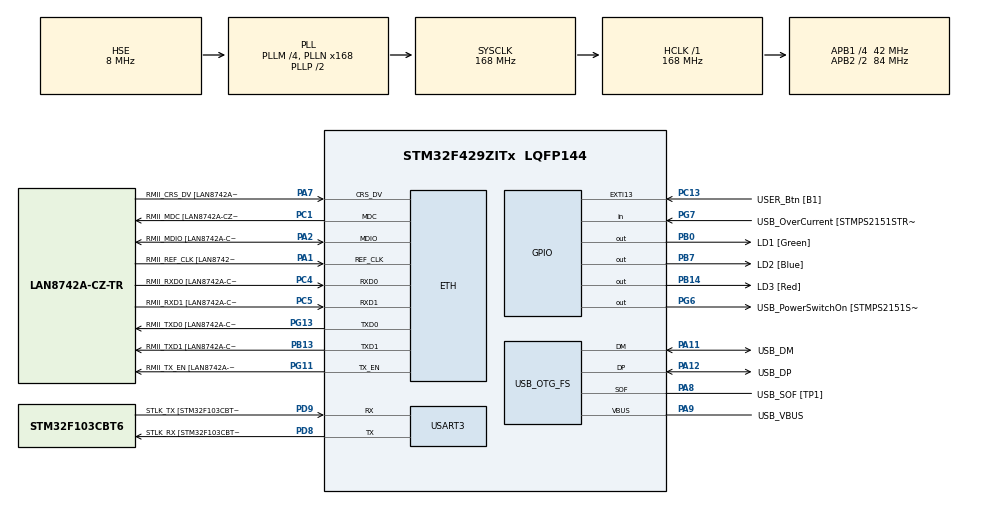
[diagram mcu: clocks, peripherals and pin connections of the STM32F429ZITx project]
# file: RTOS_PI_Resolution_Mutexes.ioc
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ETH.MediaInterface=HAL_ETH_RMII_MODE
ETH.PHY_Name=LAN8742A_PHY_ADDRESS
ETH.PHY_Value=0
ETH.PhyAddress=0
FREERTOS.BinarySemaphores01=myBinarySem01,Dynamic,NULL
FREERTOS.Mutexes01=myMutex01,Dynamic,NULL
FREERTOS.Tasks01=TaskA,8,128,StartTaskA,Default,NULL,Dynamic,NULL,NULL;TaskB,40,128,StartTaskB,Default,NULL,Dynamic,NULL,NULL;TaskC,8,128,StartTaskC,Default,NULL,Dynamic,NULL,NULL
FREERTOS.configGENERATE_RUN_TIME_STATS=1
FREERTOS.configRECORD_STACK_HIGH_ADDRESS=1
FREERTOS.configUSE_NEWLIB_REENTRANT=1
FREERTOS.configUSE_STATS_FORMATTING_FUNCTIONS=1
Mcu.Family=STM32F4
Mcu.Name=STM32F429ZITx
Mcu.Package=LQFP144
NVIC.EXTI15_10_IRQn=true\:5\:0\:false\:false\:true\:true\:true\:true\:true
NVIC.PriorityGroup=NVIC_PRIORITYGROUP_4
NVIC.TIM2_IRQn=true\:15\:0\:false\:false\:true\:false\:false\:true\:true
NVIC.TimeBase=TIM2_IRQn
NVIC.TimeBaseIP=TIM2
PA1.GPIO_Label=RMII_REF_CLK [LAN8742A-CZ-TR_REFCLK0]
PA1.Mode=RMII
PA1.Signal=ETH_REF_CLK
PA10.GPIO_Label=USB_ID
PA10.Signal=USB_OTG_FS_ID
PA11.GPIO_Label=USB_DM
PA11.Mode=Device_Only
PA11.Signal=USB_OTG_FS_DM
PA12.GPIO_Label=USB_DP
PA12.Mode=Device_Only
PA12.Signal=USB_OTG_FS_DP
PA13.GPIO_Label=TMS
PA13.Mode=Serial_Wire
PA13.Signal=SYS_JTMS-SWDIO
PA14.GPIO_Label=TCK
PA14.Mode=Serial_Wire
PA14.Signal=SYS_JTCK-SWCLK
PA2.GPIO_Label=RMII_MDIO [LAN8742A-CZ-TR_MDIO]
PA2.Mode=RMII
PA2.Signal=ETH_MDIO
PA7.GPIO_Label=RMII_CRS_DV [LAN8742A-CZ-TR_CRS_DV]
PA7.Mode=RMII
PA7.Signal=ETH_CRS_DV
PA8.GPIO_Label=USB_SOF [TP1]
PA8.Mode=Activate_SOF_FS
PA8.Signal=USB_OTG_FS_SOF
PA9.GPIO_Label=USB_VBUS
PA9.Mode=Activate_VBUS
PA9.Signal=USB_OTG_FS_VBUS
PB0.GPIO_Label=LD1 [Green]
PB0.Signal=GPIO_Output
PB13.GPIO_Label=RMII_TXD1 [LAN8742A-CZ-TR_TXD1]
PB13.Mode=RMII
PB13.Signal=ETH_TXD1
PB14.GPIO_Label=LD3 [Red]
PB14.Signal=GPIO_Output
PB7.GPIO_Label=LD2 [Blue]
PB7.Signal=GPIO_Output
PC1.GPIO_Label=RMII_MDC [LAN8742A-CZ-TR_MDC]
PC1.Mode=RMII
PC1.Signal=ETH_MDC
PC13.GPIO_Label=USER_Btn [B1]
PC13.Signal=GPXTI13
PC14/OSC32_IN.Mode=LSE-External-Oscillator
PC14/OSC32_IN.Signal=RCC_OSC32_IN
PC15/OSC32_OUT.Mode=LSE-External-Oscillator
PC15/OSC32_OUT.Signal=RCC_OSC32_OUT
PC4.GPIO_Label=RMII_RXD0 [LAN8742A-CZ-TR_RXD0]
PC4.Mode=RMII
PC4.Signal=ETH_RXD0
PC5.GPIO_Label=RMII_RXD1 [LAN8742A-CZ-TR_RXD1]
PC5.Mode=RMII
PC5.Signal=ETH_RXD1
PD8.GPIO_Label=STLK_RX [STM32F103CBT6_PA3]
PD8.Mode=Asynchronous
PD8.Signal=USART3_TX
PD9.GPIO_Label=STLK_TX [STM32F103CBT6_PA2]
PD9.Mode=Asynchronous
PD9.Signal=USART3_RX
PG11.GPIO_Label=RMII_TX_EN [LAN8742A-CZ-TR_TXEN]
PG11.Mode=RMII
PG11.Signal=ETH_TX_EN
PG13.GPIO_Label=RMII_TXD0 [LAN8742A-CZ-TR_TXD0]
PG13.Mode=RMII
PG13.Signal=ETH_TXD0
PG6.GPIO_Label=USB_PowerSwitchOn [STMPS2151STR_EN]
PG6.Signal=GPIO_Output
PG7.GPIO_Label=USB_OverCurrent [STMPS2151STR_FAULT]
PG7.Signal=GPIO_Input
PH0/OSC_IN.GPIO_Label=MCO [STM32F103CBT6_PA8]
PH0/OSC_IN.Mode=HSE-External-Clock-Source
PH0/OSC_IN.Signal=RCC_OSC_IN
PH1/OSC_OUT.Mode=HSE-External-Clock-Source
PH1/OSC_OUT.Signal=RCC_OSC_OUT
ProjectManager.HeapSize=0x200
ProjectManager.StackSize=0x400
ProjectManager.TargetToolchain=STM32CubeIDE
RCC.48MHZClocksFreq_Value=48000000
RCC.AHBFreq_Value=168000000
RCC.APB1CLKDivider=RCC_HCLK_DIV4
RCC.APB1Freq_Value=42000000
RCC.APB1TimFreq_Value=84000000
RCC.APB2CLKDivider=RCC_HCLK_DIV2
RCC.APB2Freq_Value=84000000
RCC.APB2TimCLKDivider=2
RCC.APB2TimFreq_Value=168000000
RCC.CortexFreq_Value=168000000
RCC.HCLKFreq_Value=168000000
RCC.HSE_VALUE=8000000
RCC.HSI_VALUE=16000000
RCC.PLLM=4
RCC.PLLMUL=RCC_PLL_MUL9
RCC.PLLN=168
RCC.PLLQ=7
RCC.PRESCALERUSB=RCC_USBCLKSOURCE_PLL_DIV1_5
RCC.SYSCLKFreq_VALUE=168000000
RCC.SYSCLKSource=RCC_SYSCLKSOURCE_PLLCLK
RCC.SYSCLKSourceVirtual=RCC_SYSCLKSOURCE_PLLCLK
RCC.USBFreq_Value=48000000
RCC.VCOOutputFreq_Value=336000000
USART3.VirtualMode=VM_ASYNC
USB_OTG_FS.VirtualMode=Device_Only
VP_FREERTOS_VS_CMSIS_V2.Mode=CMSIS_V2
VP_RNG_VS_RNG.Mode=RNG_Activate
VP_SYS_VS_tim2.Mode=TIM2
board=NUCLEO-F429ZI

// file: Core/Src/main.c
/* USER CODE BEGIN Header */
/**
  ******************************************************************************
  * @file           : main.c
  * @brief          : Main program body
  ******************************************************************************
  * @attention
  *
  * Copyright (c) 2025 STMicroelectronics.
  * All rights reserved.
  *
  * This software is licensed under terms that can be found in the LICENSE file
  * in the root directory of this software component.
  * If no LICENSE file comes with this software, it is provided AS-IS.
  *
  ******************************************************************************
  */
/* USER CODE END Header */
#include "main.h"
#include "string.h"
#include "cmsis_os.h"

/* USER CODE BEGIN Includes */
#include <SEGGER_SYSVIEW.h>
/* USER CODE END Includes */

ETH_TxPacketConfig TxConfig;
ETH_DMADescTypeDef  DMARxDscrTab[ETH_RX_DESC_CNT]; /* Ethernet Rx DMA Descriptors */
ETH_DMADescTypeDef  DMATxDscrTab[ETH_TX_DESC_CNT]; /* Ethernet Tx DMA Descriptors */

ETH_HandleTypeDef heth;

RNG_HandleTypeDef hrng;

UART_HandleTypeDef huart3;

PCD_HandleTypeDef hpcd_USB_OTG_FS;

/* Definitions for TaskA */
osThreadId_t TaskAHandle;
const osThreadAttr_t TaskA_attributes = {
  .name = "TaskA",
  .stack_size = 128 * 4,
  .priority = (osPriority_t) osPriorityLow,
};
/* Definitions for TaskB */
osThreadId_t TaskBHandle;
const osThreadAttr_t TaskB_attributes = {
  .name = "TaskB",
  .stack_size = 128 * 4,
  .priority = (osPriority_t) osPriorityHigh,
};
/* Definitions for TaskC */
osThreadId_t TaskCHandle;
const osThreadAttr_t TaskC_attributes = {
  .name = "TaskC",
  .stack_size = 128 * 4,
  .priority = (osPriority_t) osPriorityLow,
};
/* Definitions for myMutex01 */
osMutexId_t myMutex01Handle;
const osMutexAttr_t myMutex01_attributes = {
  .name = "myMutex01"
};
/* Definitions for myBinarySem01 */
osSemaphoreId_t myBinarySem01Handle;
const osSemaphoreAttr_t myBinarySem01_attributes = {
  .name = "myBinarySem01"
};

void SystemClock_Config(void);
static void MX_GPIO_Init(void);
static void MX_ETH_Init(void);
static void MX_USART3_UART_Init(void);
static void MX_USB_OTG_FS_PCD_Init(void);
static void MX_RNG_Init(void);
void StartTaskA(void *argument);
void StartTaskB(void *argument);
void StartTaskC(void *argument);

int main(void)
{

  /* MCU Configuration--------------------------------------------------------*/

  /* Reset of all peripherals, Initializes the Flash interface and the Systick. */
  HAL_Init();

  /* Configure the system clock */
  SystemClock_Config();

  /* Initialize all configured peripherals */
  MX_GPIO_Init();
  MX_ETH_Init();
  MX_USART3_UART_Init();
  MX_USB_OTG_FS_PCD_Init();
  MX_RNG_Init();

  /* Init scheduler */
  osKernelInitialize();
  /* Create the mutex(es) */
  /* creation of myMutex01 */
  myMutex01Handle = osMutexNew(&myMutex01_attributes);

  /* Create the semaphores(s) */
  /* creation of myBinarySem01 */
  myBinarySem01Handle = osSemaphoreNew(1, 1, &myBinarySem01_attributes);

  /* Create the thread(s) */
  /* creation of TaskA */
  TaskAHandle = osThreadNew(StartTaskA, NULL, &TaskA_attributes);

  /* creation of TaskB */
  TaskBHandle = osThreadNew(StartTaskB, NULL, &TaskB_attributes);

  /* creation of TaskC */
  TaskCHandle = osThreadNew(StartTaskC, NULL, &TaskC_attributes);

  /* USER CODE BEGIN RTOS_EVENTS */
  /* add events, ... */
  SEGGER_SYSVIEW_Conf();
  /* USER CODE END RTOS_EVENTS */

  /* Start scheduler */
  osKernelStart();

  /* We should never get here as control is now taken by the scheduler */
  /* Infinite loop */
  while (1)
  {

  }
}

void SystemClock_Config(void)
{
  RCC_OscInitTypeDef RCC_OscInitStruct = {0};
  RCC_ClkInitTypeDef RCC_ClkInitStruct = {0};

  /** Configure the main internal regulator output voltage
  */
  __HAL_RCC_PWR_CLK_ENABLE();
  __HAL_PWR_VOLTAGESCALING_CONFIG(PWR_REGULATOR_VOLTAGE_SCALE1);

  /** Initializes the RCC Oscillators according to the specified parameters
  * in the RCC_OscInitTypeDef structure.
  */
  RCC_OscInitStruct.OscillatorType = RCC_OSCILLATORTYPE_HSE;
  RCC_OscInitStruct.HSEState = RCC_HSE_BYPASS;
  RCC_OscInitStruct.PLL.PLLState = RCC_PLL_ON;
  RCC_OscInitStruct.PLL.PLLSource = RCC_PLLSOURCE_HSE;
  RCC_OscInitStruct.PLL.PLLM = 4;
  RCC_OscInitStruct.PLL.PLLN = 168;
  RCC_OscInitStruct.PLL.PLLP = RCC_PLLP_DIV2;
  RCC_OscInitStruct.PLL.PLLQ = 7;
  if (HAL_RCC_OscConfig(&RCC_OscInitStruct) != HAL_OK)
  {
    Error_Handler();
  }

  /** Initializes the CPU, AHB and APB buses clocks
  */
  RCC_ClkInitStruct.ClockType = RCC_CLOCKTYPE_HCLK|RCC_CLOCKTYPE_SYSCLK
                              |RCC_CLOCKTYPE_PCLK1|RCC_CLOCKTYPE_PCLK2;
  RCC_ClkInitStruct.SYSCLKSource = RCC_SYSCLKSOURCE_PLLCLK;
  RCC_ClkInitStruct.AHBCLKDivider = RCC_SYSCLK_DIV1;
  RCC_ClkInitStruct.APB1CLKDivider = RCC_HCLK_DIV4;
  RCC_ClkInitStruct.APB2CLKDivider = RCC_HCLK_DIV2;

  if (HAL_RCC_ClockConfig(&RCC_ClkInitStruct, FLASH_LATENCY_5) != HAL_OK)
  {
    Error_Handler();
  }
}

static void MX_ETH_Init(void)
{

   static uint8_t MACAddr[6];

  heth.Instance = ETH;
  MACAddr[0] = 0x00;
  MACAddr[1] = 0x80;
  MACAddr[2] = 0xE1;
  MACAddr[3] = 0x00;
  MACAddr[4] = 0x00;
  MACAddr[5] = 0x00;
  heth.Init.MACAddr = &MACAddr[0];
  heth.Init.MediaInterface = HAL_ETH_RMII_MODE;
  heth.Init.TxDesc = DMATxDscrTab;
  heth.Init.RxDesc = DMARxDscrTab;
  heth.Init.RxBuffLen = 1524;

  if (HAL_ETH_Init(&heth) != HAL_OK)
  {
    Error_Handler();
  }

  memset(&TxConfig, 0 , sizeof(ETH_TxPacketConfig));
  TxConfig.Attributes = ETH_TX_PACKETS_FEATURES_CSUM | ETH_TX_PACKETS_FEATURES_CRCPAD;
  TxConfig.ChecksumCtrl = ETH_CHECKSUM_IPHDR_PAYLOAD_INSERT_PHDR_CALC;
  TxConfig.CRCPadCtrl = ETH_CRC_PAD_INSERT;

}

static void MX_RNG_Init(void)
{

  hrng.Instance = RNG;
  if (HAL_RNG_Init(&hrng) != HAL_OK)
  {
    Error_Handler();
  }

}

static void MX_USART3_UART_Init(void)
{

  huart3.Instance = USART3;
  huart3.Init.BaudRate = 115200;
  huart3.Init.WordLength = UART_WORDLENGTH_8B;
  huart3.Init.StopBits = UART_STOPBITS_1;
  huart3.Init.Parity = UART_PARITY_NONE;
  huart3.Init.Mode = UART_MODE_TX_RX;
  huart3.Init.HwFlowCtl = UART_HWCONTROL_NONE;
  huart3.Init.OverSampling = UART_OVERSAMPLING_16;
  if (HAL_UART_Init(&huart3) != HAL_OK)
  {
    Error_Handler();
  }

}

static void MX_USB_OTG_FS_PCD_Init(void)
{

  hpcd_USB_OTG_FS.Instance = USB_OTG_FS;
  hpcd_USB_OTG_FS.Init.dev_endpoints = 4;
  hpcd_USB_OTG_FS.Init.speed = PCD_SPEED_FULL;
  hpcd_USB_OTG_FS.Init.dma_enable = DISABLE;
  hpcd_USB_OTG_FS.Init.phy_itface = PCD_PHY_EMBEDDED;
  hpcd_USB_OTG_FS.Init.Sof_enable = ENABLE;
  hpcd_USB_OTG_FS.Init.low_power_enable = DISABLE;
  hpcd_USB_OTG_FS.Init.lpm_enable = DISABLE;
  hpcd_USB_OTG_FS.Init.vbus_sensing_enable = ENABLE;
  hpcd_USB_OTG_FS.Init.use_dedicated_ep1 = DISABLE;
  if (HAL_PCD_Init(&hpcd_USB_OTG_FS) != HAL_OK)
  {
    Error_Handler();
  }

}

static void MX_GPIO_Init(void)
{
  GPIO_InitTypeDef GPIO_InitStruct = {0};

  /* GPIO Ports Clock Enable */
  __HAL_RCC_GPIOC_CLK_ENABLE();
  __HAL_RCC_GPIOH_CLK_ENABLE();
  __HAL_RCC_GPIOA_CLK_ENABLE();
  __HAL_RCC_GPIOB_CLK_ENABLE();
  __HAL_RCC_GPIOD_CLK_ENABLE();
  __HAL_RCC_GPIOG_CLK_ENABLE();

  /*Configure GPIO pin Output Level */
  HAL_GPIO_WritePin(GPIOB, LD1_Pin|LD3_Pin|LD2_Pin, GPIO_PIN_RESET);

  /*Configure GPIO pin Output Level */
  HAL_GPIO_WritePin(USB_PowerSwitchOn_GPIO_Port, USB_PowerSwitchOn_Pin, GPIO_PIN_RESET);

  /*Configure GPIO pin : USER_Btn_Pin */
  GPIO_InitStruct.Pin = USER_Btn_Pin;
  GPIO_InitStruct.Mode = GPIO_MODE_IT_RISING;
  GPIO_InitStruct.Pull = GPIO_NOPULL;
  HAL_GPIO_Init(USER_Btn_GPIO_Port, &GPIO_InitStruct);

  /*Configure GPIO pins : LD1_Pin LD3_Pin LD2_Pin */
  GPIO_InitStruct.Pin = LD1_Pin|LD3_Pin|LD2_Pin;
  GPIO_InitStruct.Mode = GPIO_MODE_OUTPUT_PP;
  GPIO_InitStruct.Pull = GPIO_NOPULL;
  GPIO_InitStruct.Speed = GPIO_SPEED_FREQ_LOW;
  HAL_GPIO_Init(GPIOB, &GPIO_InitStruct);

  /*Configure GPIO pin : USB_PowerSwitchOn_Pin */
  GPIO_InitStruct.Pin = USB_PowerSwitchOn_Pin;
  GPIO_InitStruct.Mode = GPIO_MODE_OUTPUT_PP;
  GPIO_InitStruct.Pull = GPIO_NOPULL;
  GPIO_InitStruct.Speed = GPIO_SPEED_FREQ_LOW;
  HAL_GPIO_Init(USB_PowerSwitchOn_GPIO_Port, &GPIO_InitStruct);

  /*Configure GPIO pin : USB_OverCurrent_Pin */
  GPIO_InitStruct.Pin = USB_OverCurrent_Pin;
  GPIO_InitStruct.Mode = GPIO_MODE_INPUT;
  GPIO_InitStruct.Pull = GPIO_NOPULL;
  HAL_GPIO_Init(USB_OverCurrent_GPIO_Port, &GPIO_InitStruct);

  /* EXTI interrupt init*/
  HAL_NVIC_SetPriority(EXTI15_10_IRQn, 5, 0);
  HAL_NVIC_EnableIRQ(EXTI15_10_IRQn);

}

/* USER CODE BEGIN 4 */
void HAL_GPIO_EXTI_Callback(uint16_t GPIO_Pin)
{
  if (GPIO_Pin == GPIO_PIN_13) // PA0 = Blue user button on NUCLEO-F429ZI
  {
		if (osSemaphoreRelease(myBinarySem01Handle) == osOK)
			SEGGER_SYSVIEW_PrintfHost("Semaphore released.\n\r");
  }
}

void BlinkThreeTimes(uint16_t GPIO_Pin){
	if (GPIO_Pin == GPIO_PIN_0 || GPIO_Pin == GPIO_PIN_7 || GPIO_Pin == GPIO_PIN_14){  // check if LED pin
		for (int i=0; i<8; i++){	// BLINK 4 TIMES
			HAL_GPIO_TogglePin(GPIOB, GPIO_Pin);
			osDelay(250);
		}
	}
}
/* USER CODE END 4 */

void StartTaskA(void *argument)
{
  /* USER CODE BEGIN 5 */
	/* Infinite loop */
	for(;;)
	{
		SEGGER_SYSVIEW_PrintfHost("TaskA\n\r");
		if (osMutexAcquire(myMutex01Handle, 1000) == osOK){
			SEGGER_SYSVIEW_PrintfHost("TaskA acquired mutex.\n\r");
			BlinkThreeTimes(GPIO_PIN_7);	// BLINK BLUE LED
			SEGGER_SYSVIEW_PrintfHost("TaskA releasing mutex.\n\r");
			if (osMutexRelease(myMutex01Handle) == osOK) SEGGER_SYSVIEW_PrintfHost("TaskA released released mutex.\n\r");
		}
		osDelay(1);
	}
  /* USER CODE END 5 */
}

void StartTaskB(void *argument)
{
  /* USER CODE BEGIN StartTaskB */
	/* Infinite loop */
	for(;;)
	{
		SEGGER_SYSVIEW_PrintfHost("TaskB\n\r");
		if (osMutexAcquire(myMutex01Handle, 2000) == osOK){
			SEGGER_SYSVIEW_PrintfHost("TaskB acquired mutex.\n\r");
			BlinkThreeTimes(GPIO_PIN_0);	// BLINK GREEN LED
			SEGGER_SYSVIEW_PrintfHost("TaskB releasing mutex.\n\r");
			if (osMutexRelease(myMutex01Handle) == osOK) SEGGER_SYSVIEW_PrintfHost("TaskB released released mutex.\n\r");
		}
		osDelay(1);
	}
  /* USER CODE END StartTaskB */
}

void StartTaskC(void *argument)
{
  /* USER CODE BEGIN StartTaskC */
	/* Infinite loop */
	for(;;)
	{
		SEGGER_SYSVIEW_PrintfHost("TaskC\n\r");
		uint32_t rnd;
	    HAL_RNG_GenerateRandomNumber(&hrng, &rnd);
	    uint32_t delay = (rnd % 2000) + 1000;	// 1000-2999ms
	    osDelay(delay);
	}
  /* USER CODE END StartTaskC */
}

void HAL_TIM_PeriodElapsedCallback(TIM_HandleTypeDef *htim)
{
  if (htim->Instance == TIM2) {
    HAL_IncTick();
  }
}

void Error_Handler(void)
{
  __disable_irq();
  while (1)
  {
  }
}
